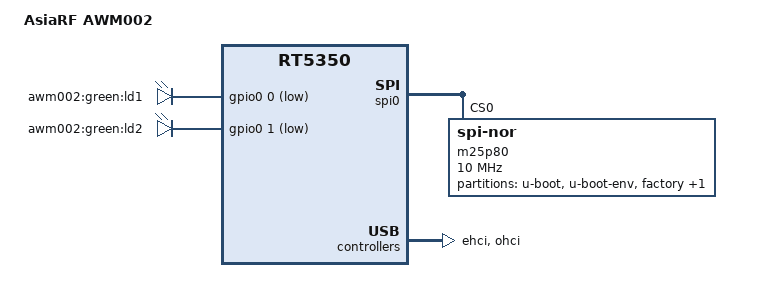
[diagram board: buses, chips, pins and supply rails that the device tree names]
#include "rt5350.dtsi"

/ {
	compatible = "AWM002", "ralink,rt5350-soc";
	model = "AsiaRF AWM002";

	gpio-leds {
		compatible = "gpio-leds";

		ld1 {
			label = "awm002:green:ld1";
			gpios = <&gpio0 0 1>;
		};

		ld2 {
			label = "awm002:green:ld2";
			gpios = <&gpio0 1 1>;
		};
	};
};

&spi0 {
	status = "okay";

	m25p80: m25p80@0 {
		#address-cells = <1>;
		#size-cells = <1>;
		reg = <0>;
		compatible = "jedec,spi-nor";
		spi-max-frequency = <10000000>;

		partition@0 {
			label = "u-boot";
			reg = <0x0 0x30000>;
			read-only;
		};

		partition@30000 {
			label = "u-boot-env";
			reg = <0x30000 0x10000>;
			read-only;
		};

		factory: partition@40000 {
			label = "factory";
			reg = <0x40000 0x10000>;
			read-only;
		};

		partition@50000 {
			label = "firmware";
			reg = <0x50000 0x1fb0000>;
		};
	};
};

&pinctrl {
	state_default: pinctrl0 {
		gpio {
			ralink,group = "i2c", "jtag";
			ralink,function = "gpio";
		};
	};
};

&esw {
	mediatek,portmap = <0x3f>;
};

&ehci {
	status = "okay";
};

&ohci {
	status = "okay";
};
